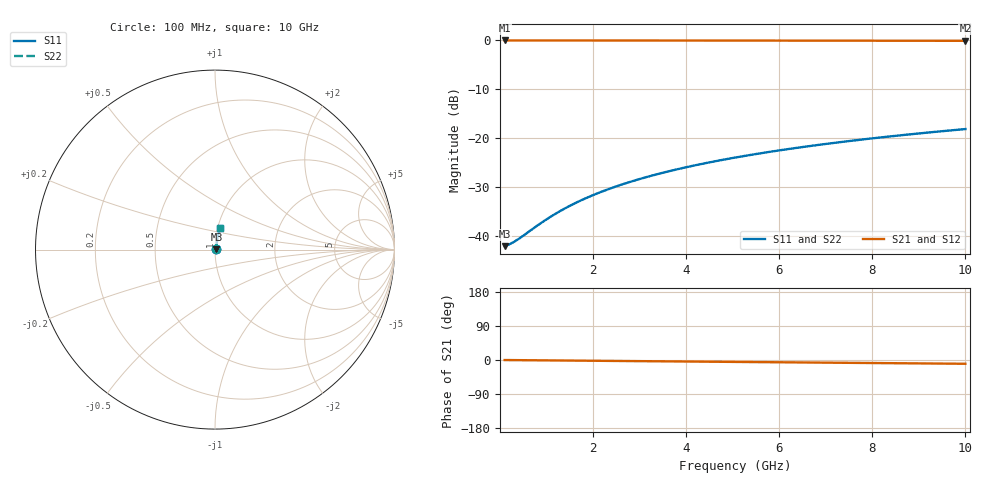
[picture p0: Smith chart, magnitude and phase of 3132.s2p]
# Hz S RI R 50.00
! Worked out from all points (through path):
!   100 points, 100 MHz to 10 GHz, reference 50 ohm
!   highest |S21| = -0.07 dB at 100 MHz (marker M1); lowest = -0.1 dB at 10 GHz (marker M2)
!   group delay of S21, straight-line fit = 2.76 ps
!   lowest |S11| = -42.0 dB at 100 MHz (marker M3), VSWR 1.02, Z = 50.8 + j0.125 ohm
!   |S11| at or under -10 dB: start of sweep to end of sweep
!   |S22| runs from -42.0 to -18.1 dB; largest |S21 - S12| = 0
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1e8  0.0078 0.00123  0.9922 -0.00173  0.9922 -0.00173  0.0078 0.00123
2e8  0.00786 0.00246  0.9921 -0.00346  0.9921 -0.00346  0.00786 0.00246
3e8  0.00791 0.0037  0.9921 -0.00519  0.9921 -0.00519  0.00791 0.0037
4e8  0.00795 0.00493  0.992 -0.00692  0.992 -0.00692  0.00795 0.00493
9e8  0.0082 0.0111  0.9918 -0.0156  0.9918 -0.0156  0.0082 0.0111
1.2e9  0.00838 0.0148  0.9916 -0.0207  0.9916 -0.0207  0.00838 0.0148
1.5e9  0.00859 0.0185  0.9914 -0.0259  0.9914 -0.0259  0.00859 0.0185
1.8e9  0.00884 0.0221  0.9911 -0.0311  0.9911 -0.0311  0.00884 0.0221
2.1e9  0.00912 0.0258  0.9908 -0.0363  0.9908 -0.0363  0.00912 0.0258
2.5e9  0.00955 0.0307  0.9904 -0.0432  0.9904 -0.0432  0.00955 0.0307
2.9e9  0.01 0.0356  0.9898 -0.0501  0.9898 -0.0501  0.01 0.0356
3.4e9  0.0108 0.0417  0.9891 -0.0587  0.9891 -0.0587  0.0108 0.0417
3.8e9  0.0114 0.0466  0.9884 -0.0655  0.9884 -0.0655  0.0114 0.0466
4.2e9  0.0121 0.0515  0.9877 -0.0724  0.9877 -0.0724  0.0121 0.0515
4.6e9  0.0129 0.0563  0.9868 -0.0792  0.9868 -0.0792  0.0129 0.0563
5.1e9  0.0139 0.0624  0.9857 -0.0878  0.9857 -0.0878  0.0139 0.0624
5.9e9  0.0159 0.072  0.9837 -0.1014  0.9837 -0.1014  0.0159 0.072
6.7e9  0.018 0.0816  0.9814 -0.1149  0.9814 -0.1149  0.018 0.0816
7.5e9  0.0205 0.091  0.9788 -0.1284  0.9788 -0.1284  0.0205 0.091
8.4e9  0.0235 0.1016  0.9755 -0.1435  0.9755 -0.1435  0.0235 0.1016
9.2e9  0.0265 0.1109  0.9724 -0.1568  0.9724 -0.1568  0.0265 0.1109
1e10  0.0298 0.1201  0.9689 -0.17  0.9689 -0.17  0.0298 0.1201
